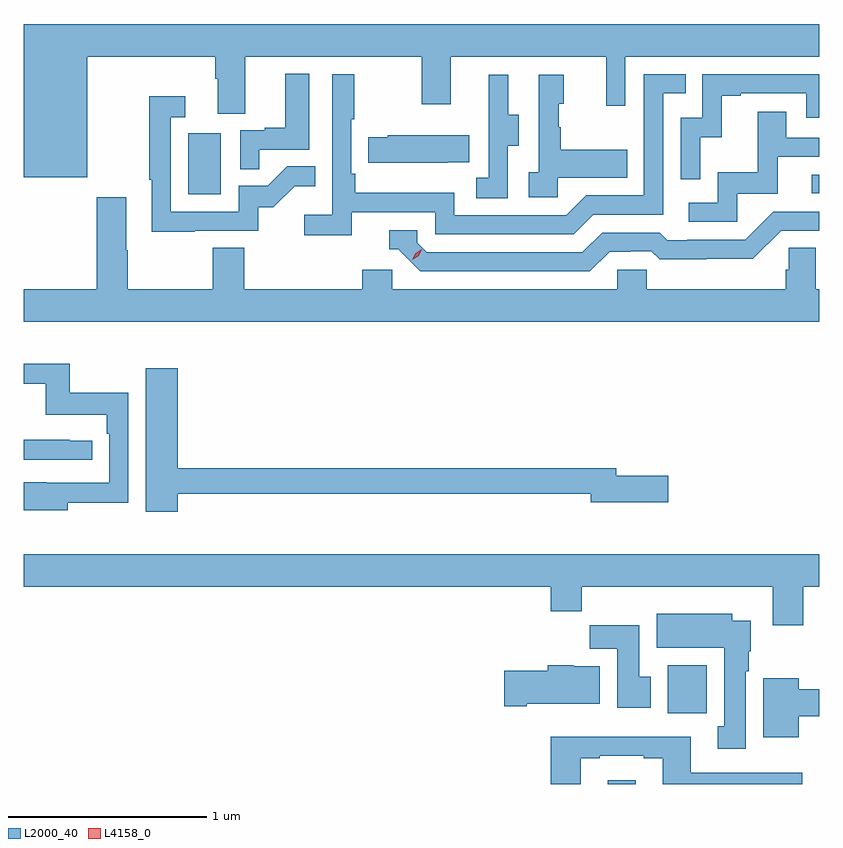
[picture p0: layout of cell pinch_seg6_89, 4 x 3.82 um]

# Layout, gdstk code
import gdstk
lib = gdstk.Library(unit=1e-6, precision=1e-09)
def R(c, l, rs):  # rectangles x0, y0, x1, y1
    for r in rs: c.add(gdstk.rectangle(r[:2], r[2:], *l))
def P(c, l, *ps):  # polygons
    for p in ps: c.add(gdstk.Polygon(p, *l))
L2000_40 = (2000, 40)
L4158_0 = (4158, 0)

pinch_seg6_89 = lib.new_cell('pinch_seg6_89')
R(pinch_seg6_89, L2000_40, [(913.571,925.032,913.711,925.051), (913.871,925.388,914.068,925.63), (911.462,927.996,911.626,928.303), (914.595,928.002,914.634,928.095)])
P(pinch_seg6_89, L2000_40, [(910.954,928.688),(911.597,928.688),(911.597,928.576),(911.609,928.576),(911.609,928.402),(911.749,928.402),(911.749,928.688),(912.634,928.688),(912.634,928.449),(912.781,928.449),(912.781,928.688),(913.562,928.688),(913.562,928.44),(913.659,928.44),(913.659,928.688),(914.634,928.688),(914.634,928.852),(910.634,928.852),(910.634,928.082),(910.954,928.082)],
  [(911.819,928.221),(912.07,928.221),(912.07,928.603),(911.948,928.603),(911.948,928.33),(911.845,928.33),(911.845,928.317),(911.724,928.317),(911.724,928.123),(911.819,928.123)],
  [(912.284,927.906),(912.702,927.906),(912.702,927.795),(913.399,927.795),(913.498,927.894),(913.848,927.894),(913.848,928.503),(913.961,928.503),(913.961,928.599),(913.752,928.599),(913.752,927.99),(913.461,927.99),(913.362,927.891),(912.798,927.891),(912.798,928.003),(912.302,928.003),(912.302,928.099),(912.282,928.099),(912.282,928.372),(912.295,928.372),(912.295,928.6),(912.186,928.6),(912.186,927.892),(912.045,927.892),(912.045,927.79),(912.284,927.79)],
  [(914.034,928.283),(914.144,928.283),(914.144,928.491),(914.239,928.491),(914.239,928.503),(914.568,928.503),(914.568,928.38),(914.634,928.38),(914.634,928.599),(914.046,928.599),(914.046,928.38),(913.938,928.38),(913.938,928.071),(914.034,928.071)],
  [(913.32,928.079),(913.667,928.079),(913.667,928.219),(913.333,928.219),(913.333,928.334),(913.323,928.334),(913.323,928.452),(913.348,928.452),(913.348,928.597),(913.224,928.597),(913.224,928.106),(913.173,928.106),(913.173,927.981),(913.32,927.981)],
  [(913.068,928.24),(913.123,928.24),(913.123,928.395),(913.069,928.395),(913.069,928.597),(912.971,928.597),(912.971,928.383),(912.972,928.383),(912.972,928.079),(912.909,928.079),(912.909,927.976),(913.068,927.976)],
  [(911.495,927.813),(911.814,927.813),(911.814,927.93),(911.89,927.93),(911.997,928.037),(912.101,928.037),(912.101,928.136),(911.958,928.136),(911.86,928.038),(911.715,928.038),(911.715,927.909),(911.373,927.909),(911.373,928.383),(911.446,928.383),(911.446,928.489),(911.265,928.489),(911.265,928.069),(911.277,928.069),(911.277,927.808),(911.495,927.808)],
  [(914.22,927.999),(914.425,927.999),(914.425,928.185),(914.634,928.185),(914.634,928.281),(914.467,928.281),(914.467,928.411),(914.323,928.411),(914.323,928.108),(914.124,928.108),(914.124,927.954),(913.977,927.954),(913.977,927.858),(914.22,927.858)],
  [(912.767,928.157),(912.875,928.157),(912.875,928.294),(912.465,928.294),(912.465,928.284),(912.367,928.284),(912.367,928.154),(912.767,928.154)],
  [(914.634,927.52),(914.616,927.52),(914.616,927.728),(914.479,927.728),(914.479,927.618),(914.465,927.618),(914.465,927.52),(913.767,927.52),(913.767,927.618),(913.617,927.618),(913.617,927.52),(912.486,927.52),(912.486,927.618),(912.335,927.618),(912.335,927.52),(911.744,927.52),(911.744,927.728),(911.584,927.728),(911.584,927.52),(911.157,927.52),(911.157,927.716),(911.149,927.716),(911.149,927.982),(911.002,927.982),(911.002,927.52),(910.634,927.52),(910.634,927.356),(914.634,927.356)],
  [(913.579,927.708),(913.686,927.708),(913.686,927.711),(913.789,927.711),(913.831,927.669),(914.064,927.669),(914.064,927.671),(914.3,927.671),(914.442,927.813),(914.634,927.813),(914.634,927.909),(914.403,927.909),(914.262,927.768),(913.969,927.768),(913.969,927.765),(913.87,927.765),(913.831,927.804),(913.542,927.804),(913.443,927.705),(912.66,927.705),(912.612,927.753),(912.612,927.816),(912.473,927.816),(912.473,927.72),(912.516,927.72),(912.627,927.609),(913.48,927.609)],
  [(910.855,926.446),(911.16,926.446),(911.16,926.998),(910.867,926.998),(910.867,927.144),(910.634,927.144),(910.634,927.043),(910.746,927.043),(910.746,926.888),(911.051,926.888),(911.051,926.792),(911.064,926.792),(911.064,926.547),(910.751,926.547),(910.751,926.548),(910.634,926.548),(910.634,926.408),(910.855,926.408)],
  [(911.41,926.49),(913.484,926.49),(913.484,926.447),(913.873,926.447),(913.873,926.582),(913.612,926.582),(913.612,926.618),(911.41,926.618),(911.41,927.121),(911.249,927.121),(911.249,926.4),(911.41,926.4)],
  [(910.978,926.757),(910.865,926.757),(910.865,926.762),(910.634,926.762),(910.634,926.661),(910.978,926.661)],
  [(914.552,926.024),(914.634,926.024),(914.634,926.188),(910.634,926.188),(910.634,926.024),(913.283,926.024),(913.283,925.9),(913.439,925.9),(913.439,926.024),(914.399,926.024),(914.399,925.83),(914.552,925.83)],
  [(914.263,925.598),(914.278,925.598),(914.278,925.698),(914.29,925.698),(914.29,925.852),(914.197,925.852),(914.197,925.888),(913.817,925.888),(913.817,925.718),(914.156,925.718),(914.156,925.322),(914.123,925.322),(914.123,925.209),(914.263,925.209)],
  [(913.786,925.572),(913.729,925.572),(913.729,925.83),(913.48,925.83),(913.48,925.712),(913.619,925.712),(913.619,925.416),(913.786,925.416)],
  [(913.162,925.436),(913.531,925.436),(913.531,925.624),(913.398,925.624),(913.398,925.63),(913.268,925.63),(913.268,925.602),(913.05,925.602),(913.05,925.424),(913.162,925.424)],
  [(914.53,925.372),(914.634,925.372),(914.634,925.508),(914.53,925.508),(914.53,925.564),(914.351,925.564),(914.351,925.268),(914.53,925.268)],
  [(913.435,925.161),(913.531,925.161),(913.531,925.173),(913.751,925.173),(913.751,925.161),(913.847,925.161),(913.847,925.032),(914.548,925.032),(914.548,925.089),(913.987,925.089),(913.987,925.27),(913.283,925.27),(913.283,925.032),(913.435,925.032)])
P(pinch_seg6_89, L4158_0, [(912.588,927.668),(912.588,927.668),(912.605,927.7),(912.636,927.719),(912.636,927.719),(912.636,927.719),(912.619,927.686),(912.588,927.668)])

lib.write_gds('pinch_seg6_89.gds')
